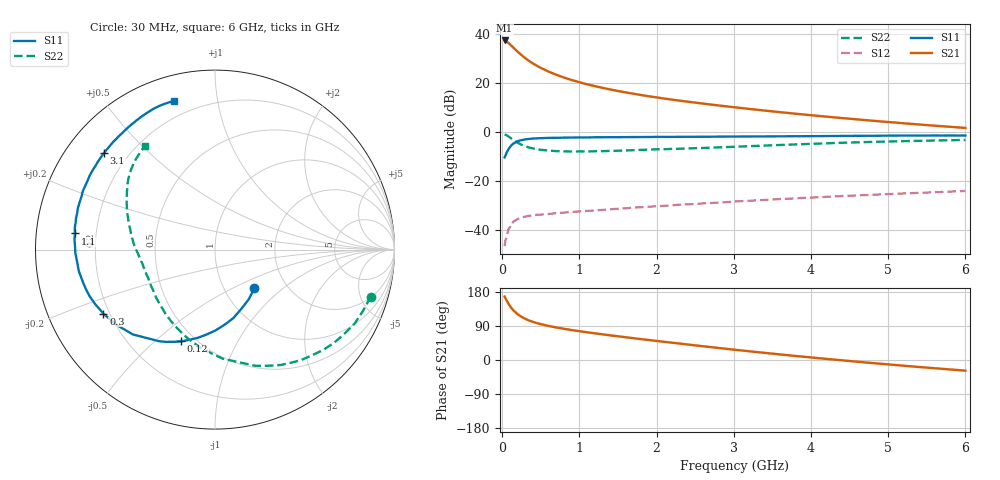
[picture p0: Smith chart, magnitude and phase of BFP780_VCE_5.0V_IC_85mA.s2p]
! Infineon Technologies  Discrete & RF Semiconductors
! BFP780
! VCE =  5.0 V,  IC =  85 mA
! Common Emitter S-Parameters:  Jul 2015
# GHz  S  MA  R  50
!  f  S11  S21  S12  S22
! GHz  MAG  ANG  MAG  ANG  MAG  ANG  MAG  ANG
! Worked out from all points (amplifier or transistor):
!   75 points, 30 MHz to 6 GHz, reference 50 ohm
!   highest |S21| = 37.6 dB at 30 MHz (marker M1)
!   |S21| within 3 dB of that: start of sweep to 145.8 MHz
!   unconditionally stable (mu >= 1): 1.707 GHz to end of sweep
!   at 150 MHz: K = 0.21, MSG = 35.4 dB, |S12| = -36.4 dB
!   at 2.3 GHz: K = 1.13, MAG = 19.1 dB, |S12| = -29.6 dB
!   at 6 GHz: K = 1.19, MAG = 10.3 dB, |S12| = -24.0 dB
!   S11 on the Smith chart (normalised r, x): 30 MHz: 1.38, -0.66; 120 MHz: 0.42, -0.61; 300 MHz: 0.18, -0.26; 1.1 GHz: 0.12, +0.06; 3.1 GHz: 0.11, +0.37; 6 GHz: 0.12, +0.75
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0.03  0.3072 -44.5  75.43 167.5  0.0047 68.7  0.9067 -16.8
0.05  0.3611 -66.0  72.67 159.2  0.0068 69.3  0.8806 -27.8
0.07  0.4215 -82.6  69.09 151.9  0.0089 60.9  0.842 -38.2
0.09  0.4759 -95.8  64.94 145.2  0.011 51.8  0.7981 -47.7
0.11  0.5232 -106.0  60.63 139.3  0.013 50.1  0.758 -56.4
0.12  0.5455 -110.4  58.55 136.7  0.013 49.8  0.7394 -60.4
0.15  0.5975 -121.3  52.63 129.7  0.0151 45.4  0.6843 -71.0
0.2  0.6582 -134.1  44.21 120.6  0.0169 37.7  0.6095 -85.9
0.25  0.6937 -143.3  37.73 113.7  0.0183 34.4  0.5571 -97.7
0.3  0.7169 -150.2  32.58 108.3  0.0189 30.3  0.5157 -107.5
0.35  0.7333 -155.5  28.58 104.0  0.0197 29.0  0.487 -115.4
0.4  0.7454 -159.6  25.4 100.4  0.0202 28.4  0.4669 -122.0
0.5  0.7578 -166.2  20.7 94.6  0.0208 27.1  0.438 -132.6
0.6  0.7683 -171.1  17.41 89.8  0.0213 25.6  0.4234 -140.8
0.8  0.7781 -178.5  13.16 82.3  0.0228 26.1  0.4084 -152.3
1.1  0.7854 173.4  9.569 73.1  0.0247 26.9  0.4058 -163.7
1.5  0.7943 165.2  6.984 62.6  0.0273 29.0  0.42 -173.4
2.1  0.8054 154.6  4.894 47.9  0.0314 30.2  0.4516 176.6
3.1  0.82 138.9  3.128 25.2  0.0392 29.4  0.513 160.6
4.1  0.8361 124.9  2.161 4.8  0.0471 26.3  0.5874 146.7
5.1  0.8559 113.7  1.576 -13.4  0.0554 21.5  0.6539 134.6
6  0.8595 105.5  1.228 -28.1  0.0632 15.8  0.6975 123.8
